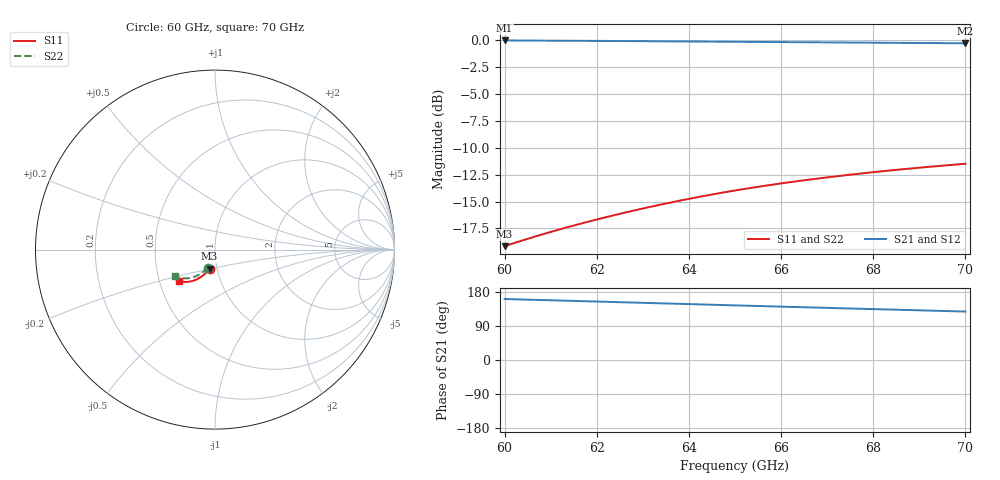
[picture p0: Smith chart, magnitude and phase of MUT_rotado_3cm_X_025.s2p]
! TOUCHSTONE file generated by CST MICROWAVE STUDIO
! Date and time: Sat Feb 17 14:29:58 2024
! Project name: MUT_rotado.cst
! Parameters = {AngX=0.25}
! Header version: 2018
! Port assignment regex: !\s*Touchstone port\s*([0-9]+)\s*=\s*(CST MWS port|CST DS port)\s*([0-9]+|Zmin|Zmax)\s*\(\"(.*)\"\)(\s*mode\s*([0-9]+))?.*
! Touchstone port assignment:
! Touchstone port 1 = CST MWS port 1 ("")
! Touchstone port 2 = CST MWS port 2 ("")
# GHz S MA R 376.7
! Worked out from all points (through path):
!   1001 points, 60 GHz to 70 GHz, reference 376.7 ohm
!   highest |S21| = -0.05 dB at 60 GHz (marker M1); lowest = -0.3 dB at 70 GHz (marker M2)
!   group delay of S21, straight-line fit = 9.18 ps
!   lowest |S11| = -19.1 dB at 60 GHz (marker M3), VSWR 1.25, Z = 347 - j74.6 ohm
!   |S11| at or under -10 dB: start of sweep to end of sweep
!   |S22| runs from -19.1 to -11.5 dB; largest |S21 - S12| = 0.0006
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60  0.1104 -105.9  0.9938 160.9  0.9939 160.9  0.1103 -112.2
60.05  0.1113 -106.1  0.9937 160.8  0.9938 160.8  0.1112 -112.3
60.46  0.1187 -107.4  0.9929 159.4  0.993 159.4  0.1187 -113.7
60.88  0.1263 -108.9  0.992 157.9  0.992 157.9  0.1263 -115.1
61.27  0.1334 -110.2  0.991 156.6  0.9911 156.6  0.1334 -116.5
61.67  0.1407 -111.6  0.99 155.3  0.9901 155.3  0.1407 -117.9
62.08  0.1483 -113.0  0.9889 153.9  0.9889 153.9  0.1483 -119.3
62.49  0.1558 -114.4  0.9878 152.5  0.9878 152.5  0.1558 -120.7
62.91  0.1634 -115.8  0.9866 151.1  0.9865 151.1  0.1635 -122.2
63.34  0.1713 -117.3  0.9853 149.6  0.9852 149.6  0.1713 -123.7
63.76  0.1788 -118.6  0.9839 148.2  0.9839 148.2  0.1788 -125.1
64.18  0.1862 -120.0  0.9826 146.8  0.9825 146.8  0.1863 -126.5
64.59  0.1933 -121.3  0.9812 145.4  0.9812 145.5  0.1933 -127.8
65  0.2001 -122.6  0.9798 144.1  0.9798 144.1  0.2002 -129.2
65.4  0.2066 -123.9  0.9784 142.8  0.9785 142.8  0.2066 -130.5
65.81  0.213 -125.2  0.977 141.4  0.9771 141.4  0.213 -131.9
66.67  0.2256 -127.9  0.9741 138.6  0.9742 138.6  0.2255 -134.8
67.48  0.2366 -130.5  0.9716 136.0  0.9716 136.0  0.2366 -137.5
68.34  0.2475 -133.3  0.9692 133.2  0.9689 133.2  0.2475 -140.4
69.29  0.2585 -136.3  0.9666 130.2  0.9661 130.2  0.2586 -143.5
69.95  0.2657 -138.3  0.9643 128.0  0.9642 128.0  0.2656 -145.6
70  0.2662 -138.5  0.9641 127.9  0.964 127.9  0.2662 -145.8
